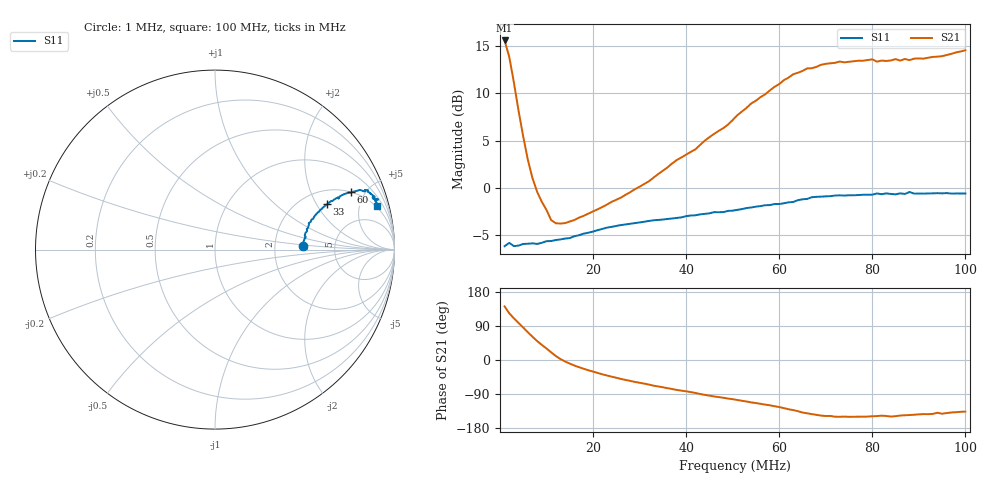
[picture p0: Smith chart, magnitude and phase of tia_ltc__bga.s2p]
# HZ S RI R 50
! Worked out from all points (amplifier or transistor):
!   100 points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, 1 MHz to 100 MHz, reference 50 ohm
!   highest |S21| = 15.6 dB at 1 MHz (marker M1)
!   |S21| within 3 dB of that: 65.82 MHz to end of sweep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
!   S11 on the Smith chart (normalised r, x): 1 MHz: 2.93, +0.14; 33 MHz: 2.66, +2.48; 60 MHz: 2.02, +3.98; 100 MHz: 1.88, +7.14
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1000001  0.4922 0.0176  -4.704 3.736  0 0  0 0
2000001  0.5127 0.00365  -2.692 4.114  0 0  0 0
3000001  0.4916 0.0368  -1.222 3.386  0 0  0 0
4000001  0.494 0.0465  -0.3463 2.53  0 0  0 0
5000001  0.5016 0.067  0.142 1.862  0 0  0 0
7000001  0.5048 0.0719  0.5419 0.9846  0 0  0 0
9000001  0.5045 0.0937  0.6483 0.5402  0 0  0 0
1.2e7  0.5174 0.1186  0.6399 0.1185  0 0  0 0
1.8e7  0.5474 0.1715  0.6547 -0.2808  0 0  0 0
3.3e7  0.6251 0.2535  0.4296 -1.049  0 0  0 0
3.4e7  0.6276 0.2553  0.4091 -1.111  0 0  0 0
4.2e7  0.6614 0.2776  0.0875 -1.596  0 0  0 0
5.1e7  0.7044 0.3012  -0.6482 -2.333  0 0  0 0
6e7  0.7581 0.3188  -1.986 -2.924  0 0  0 0
6.3e7  0.7781 0.3242  -2.673 -2.951  0 0  0 0
6.7e7  0.8322 0.3239  -3.416 -2.587  0 0  0 0
7.3e7  0.8524 0.33  -4.02 -2.337  0 0  0 0
8.2e7  0.8821 0.2826  -3.944 -2.565  0 0  0 0
8.4e7  0.881 0.2953  -4.05 -2.404  0 0  0 0
9.4e7  0.9008 0.2622  -3.733 -3.221  0 0  0 0
9.5e7  0.8998 0.2578  -3.901 -3.07  0 0  0 0
1e8  0.903 0.2409  -3.843 -3.692  0 0  0 0
